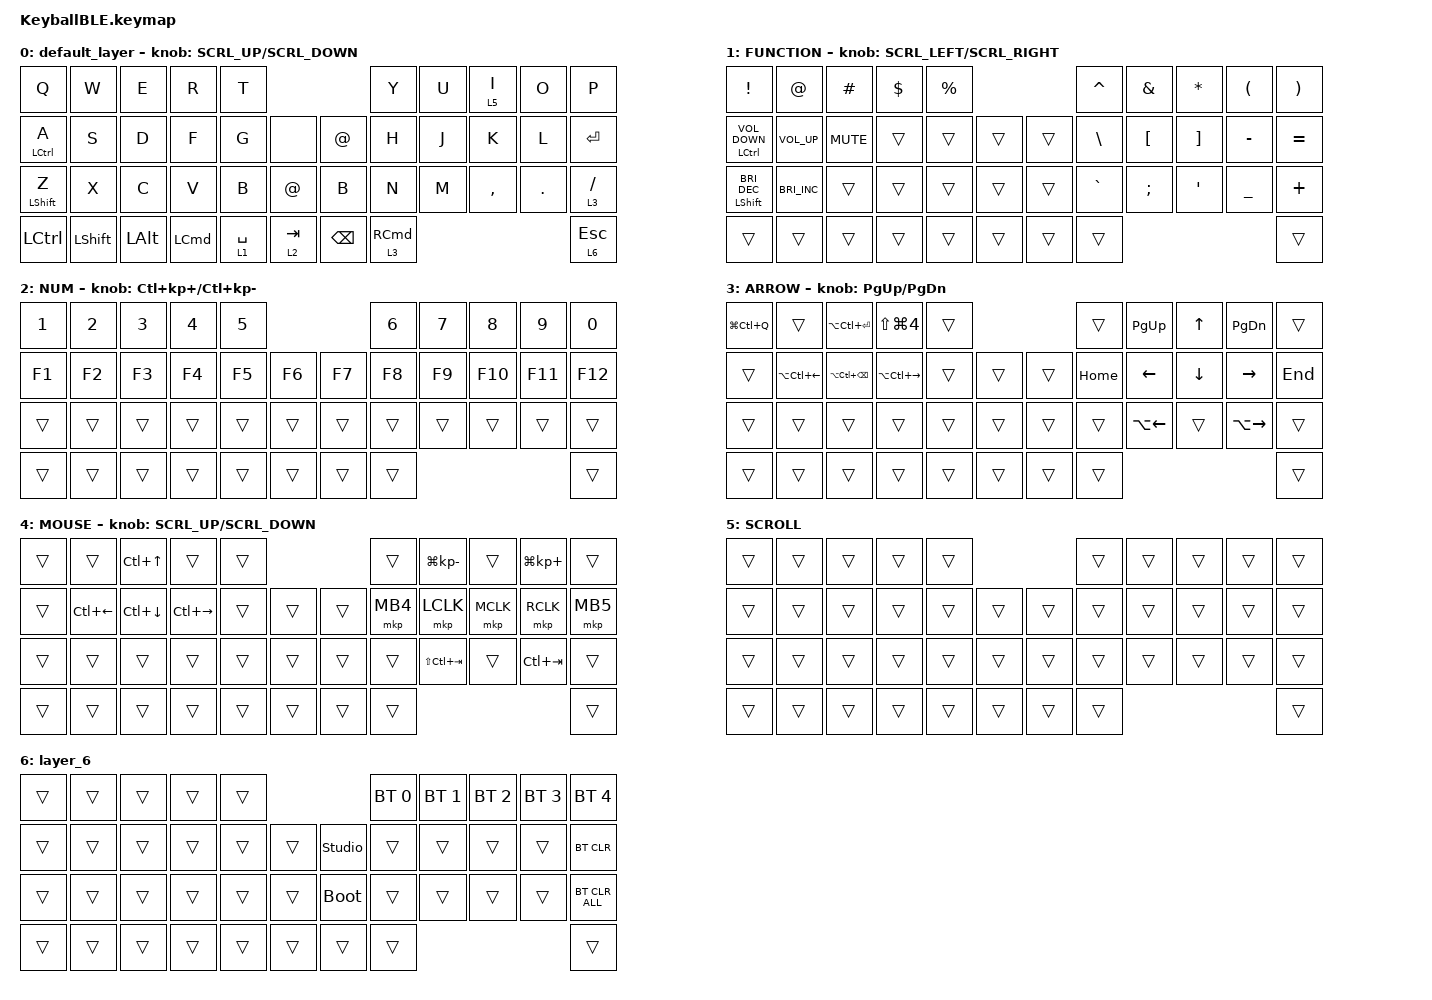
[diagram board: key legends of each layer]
#define ZMK_POINTING_DEFAULT_SCRL_VAL 120    // default: 10

#include <behaviors.dtsi>
#include <dt-bindings/zmk/bt.h>
#include <dt-bindings/zmk/keys.h>
#include <dt-bindings/zmk/pointing.h>

#define MOUSE 4
#define SCROLL 5
#define NUM 6

&mt {
    flavor = "balanced";
    quick-tap-ms = <0>;
};

/ {
    combos {
        compatible = "zmk,combos";

        double_quotation {
            bindings = <&kp DOUBLE_QUOTES>;
            key-positions = <20 21>;
        };
    };

    macros {
        to_layer_0: to_layer_0 {
            compatible = "zmk,behavior-macro-one-param";
            #binding-cells = <1>;
            bindings = <&to 0 &macro_param_1to1 &kp MACRO_PLACEHOLDER>;
            label = "TO_LAYER_0";
        };
    };

    behaviors {
        lt_to_layer_0: lt_to_layer_0 {
            compatible = "zmk,behavior-hold-tap";
            label = "LAYER_TAP_TO_0";
            bindings = <&mo>, <&to_layer_0>;

            #binding-cells = <2>;
            tapping-term-ms = <200>;
        };

        ROTATE: ROTATE {
            compatible = "zmk,behavior-sensor-rotate-var";
            label = "ROTATE";
            #sensor-binding-cells = <2>;
            bindings = <&msc>, <&msc>;

            tap-ms = <20>;
        };
    };

    keymap {
        compatible = "zmk,keymap";

        default_layer {
            bindings = <
&kp Q               &kp W           &kp E         &kp R             &kp T                                        &kp Y                &kp U  &lt 5 I    &kp O    &kp P
&mt LEFT_CONTROL A  &kp S           &kp D         &kp F             &kp G        &none            &kp AT_SIGN    &kp H                &kp J  &kp K      &kp L    &kp ENTER
&mt LEFT_SHIFT Z    &kp X           &kp C         &kp V             &kp B        &kp AT_SIGN      &kp B          &kp N                &kp M  &kp COMMA  &kp DOT  &lt 3 SLASH
&kp LCTRL           &kp LEFT_SHIFT  &kp LEFT_ALT  &kp LEFT_COMMAND  &lt 1 SPACE  &lt 2 TAB        &kp BACKSPACE  &lt 3 RIGHT_COMMAND                             &lt 6 ESC
            >;

            sensor-bindings = <&ROTATE SCRL_UP SCRL_DOWN>;
        };

        FUNCTION {
            bindings = <
&kp EXCLAMATION                  &kp AT_SIGN           &kp HASH    &kp DOLLAR  &kp PERCENT                      &kp CARET      &kp AMPERSAND     &kp ASTERISK       &kp LEFT_PARENTHESIS  &kp RIGHT_PARENTHESIS
&mt LEFT_CONTROL C_VOLUME_DOWN   &kp C_VOLUME_UP       &kp C_MUTE  &trans      &trans       &trans      &trans  &kp BACKSLASH  &kp LEFT_BRACKET  &kp RIGHT_BRACKET  &kp MINUS             &kp EQUAL
&mt LEFT_SHIFT C_BRIGHTNESS_DEC  &kp C_BRIGHTNESS_INC  &trans      &trans      &trans       &trans      &trans  &kp GRAVE      &kp SEMI          &kp SINGLE_QUOTE   &kp UNDER             &kp PLUS
&trans                           &trans                &trans      &trans      &trans       &trans      &trans  &trans                                                                    &trans
            >;

            sensor-bindings = <&ROTATE SCRL_LEFT SCRL_RIGHT>;
        };

        NUM {
            bindings = <
&kp N1  &kp N2  &kp N3  &kp N4  &kp N5                      &kp N6  &kp N7  &kp N8   &kp N9   &kp N0
&kp F1  &kp F2  &kp F3  &kp F4  &kp F5  &kp F6      &kp F7  &kp F8  &kp F9  &kp F10  &kp F11  &kp F12
&trans  &trans  &trans  &trans  &trans  &trans      &trans  &trans  &trans  &trans   &trans   &trans
&trans  &trans  &trans  &trans  &trans  &trans      &trans  &trans                            &trans
            >;

            sensor-bindings = <&inc_dec_kp LC(KP_PLUS) LC(KP_MINUS)>;
        };

        ARROW {
            bindings = <
&kp LG(LC(Q))  &trans            &kp LA(LC(RETURN))     &kp LS(LG(NUMBER_4))  &trans                      &trans    &kp PAGE_UP   &kp UP    &kp PAGE_DOWN  &trans
&trans         &kp LA(LC(LEFT))  &kp LA(LC(BACKSPACE))  &kp LA(LC(RIGHT))     &trans  &trans      &trans  &kp HOME  &kp LEFT      &kp DOWN  &kp RIGHT      &kp END
&trans         &trans            &trans                 &trans                &trans  &trans      &trans  &trans    &kp LA(LEFT)  &trans    &kp LA(RIGHT)  &trans
&trans         &trans            &trans                 &trans                &trans  &trans      &trans  &trans                                           &trans
            >;

            sensor-bindings = <&inc_dec_kp PAGE_UP PAGE_DOWN>;
        };

        MOUSE {
            bindings = <
&trans  &trans        &kp LC(UP_ARROW)  &trans         &trans                      &trans    &kp LG(KP_MINUS)  &trans     &kp LG(KP_PLUS)  &trans
&trans  &kp LC(LEFT)  &kp LC(DOWN)      &kp LC(RIGHT)  &trans  &trans      &trans  &mkp MB4  &mkp LCLK         &mkp MCLK  &mkp RCLK        &mkp MB5
&trans  &trans        &trans            &trans         &trans  &trans      &trans  &trans    &kp LS(LC(TAB))   &trans     &kp LC(TAB)      &trans
&trans  &trans        &trans            &trans         &trans  &trans      &trans  &trans                                                  &trans
            >;

            sensor-bindings = <&ROTATE SCRL_UP SCRL_DOWN>;
        };

        SCROLL {
            bindings = <
&trans  &trans  &trans  &trans  &trans                      &trans  &trans  &trans  &trans  &trans
&trans  &trans  &trans  &trans  &trans  &trans      &trans  &trans  &trans  &trans  &trans  &trans
&trans  &trans  &trans  &trans  &trans  &trans      &trans  &trans  &trans  &trans  &trans  &trans
&trans  &trans  &trans  &trans  &trans  &trans      &trans  &trans                          &trans
            >;
        };

        layer_6 {
            bindings = <
&trans  &trans  &trans  &trans  &trans                              &bt BT_SEL 0  &bt BT_SEL 1  &bt BT_SEL 2  &bt BT_SEL 3  &bt BT_SEL 4
&trans  &trans  &trans  &trans  &trans  &trans      &studio_unlock  &trans        &trans        &trans        &trans        &bt BT_CLR
&trans  &trans  &trans  &trans  &trans  &trans      &bootloader     &trans        &trans        &trans        &trans        &bt BT_CLR_ALL
&trans  &trans  &trans  &trans  &trans  &trans      &trans          &trans                                                  &trans
            >;
        };
    };
};
